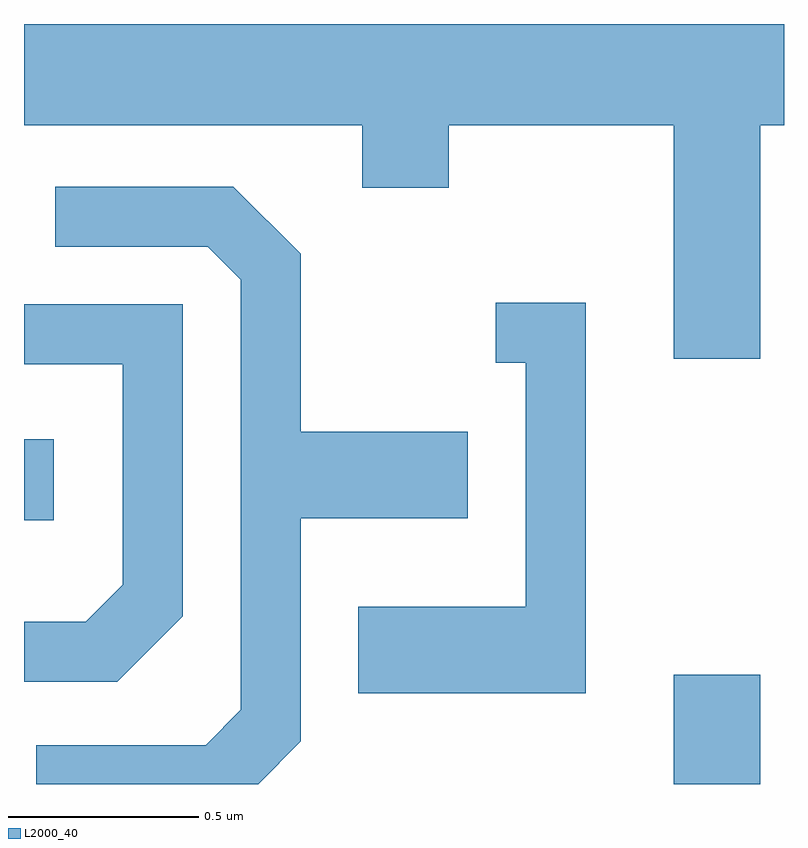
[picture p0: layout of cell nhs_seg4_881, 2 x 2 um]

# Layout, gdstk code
import gdstk
lib = gdstk.Library(unit=1e-6, precision=1e-09)
def R(c, l, rs):  # rectangles x0, y0, x1, y1
    for r in rs: c.add(gdstk.rectangle(r[:2], r[2:], *l))
def P(c, l, *ps):  # polygons
    for p in ps: c.add(gdstk.Polygon(p, *l))
L2000_40 = (2000, 40)

nhs_seg4_881 = lib.new_cell('nhs_seg4_881')
R(nhs_seg4_881, L2000_40, [(193.321,1312.982,193.549,1313.269), (191.611,1313.676,191.689,1313.889)])
P(nhs_seg4_881, L2000_40, [(193.549,1314.716),(193.611,1314.716),(193.611,1314.982),(191.611,1314.982),(191.611,1314.716),(192.501,1314.716),(192.501,1314.551),(192.729,1314.551),(192.729,1314.716),(193.321,1314.716),(193.321,1314.101),(193.549,1314.101)],
  [(192.339,1313.094),(192.339,1313.681),(192.779,1313.681),(192.779,1313.909),(192.339,1313.909),(192.339,1314.377),(192.162,1314.554),(191.693,1314.554),(191.693,1314.396),(192.094,1314.396),(192.181,1314.309),(192.181,1313.177),(192.089,1313.084),(191.643,1313.084),(191.643,1312.982),(192.228,1312.982)],
  [(193.089,1314.249),(192.853,1314.249),(192.853,1314.091),(192.931,1314.091),(192.931,1313.449),(192.491,1313.449),(192.491,1313.221),(193.089,1313.221)],
  [(192.029,1313.424),(192.029,1314.244),(191.611,1314.244),(191.611,1314.086),(191.871,1314.086),(191.871,1313.507),(191.774,1313.409),(191.611,1313.409),(191.611,1313.251),(191.857,1313.251)])

lib.write_gds('nhs_seg4_881.gds')
